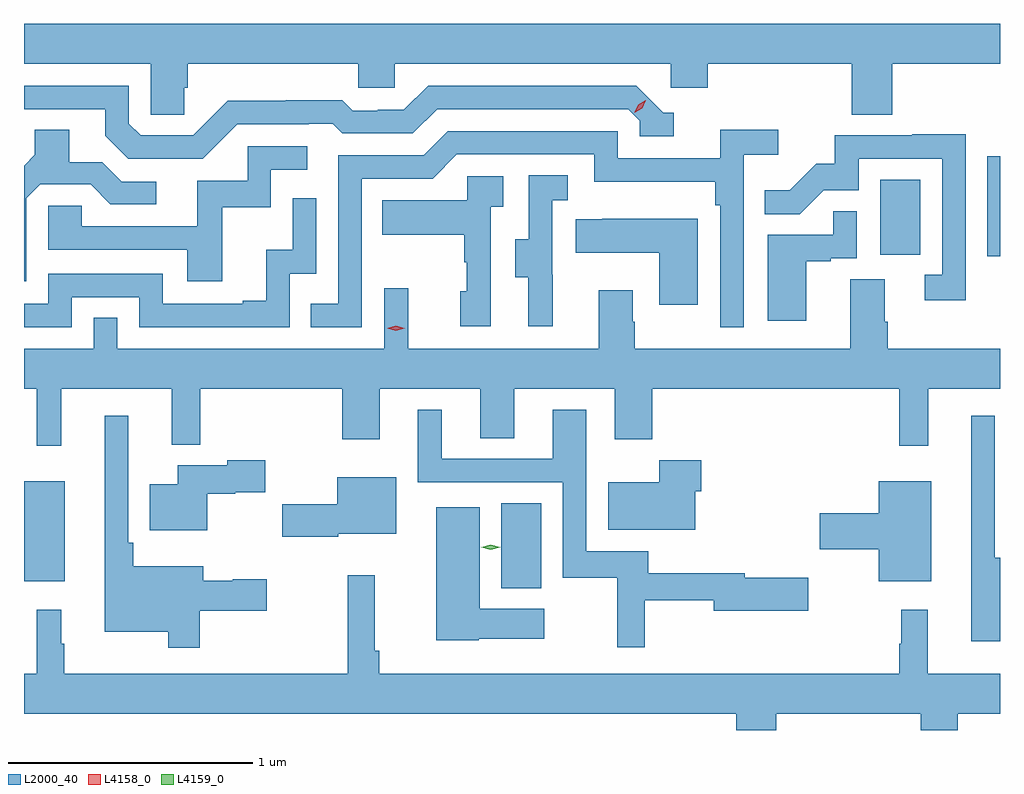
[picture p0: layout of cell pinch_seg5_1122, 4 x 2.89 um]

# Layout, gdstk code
import gdstk
lib = gdstk.Library(unit=1e-6, precision=1e-09)
def R(c, l, rs):  # rectangles x0, y0, x1, y1
    for r in rs: c.add(gdstk.rectangle(r[:2], r[2:], *l))
def P(c, l, *ps):  # polygons
    for p in ps: c.add(gdstk.Polygon(p, *l))
L2000_40 = (2000, 40)
L4158_0 = (4158, 0)
L4159_0 = (4159, 0)

pinch_seg5_1122 = lib.new_cell('pinch_seg5_1122')
R(pinch_seg5_1122, L2000_40, [(855.338,845.288,855.502,845.636), (853.382,845.315,853.549,845.725), (857.33,846.647,857.382,847.057), (856.892,846.654,857.056,846.961)])
P(pinch_seg5_1122, L2000_40, [(854.039,847.338),(854.054,847.338),(854.054,847.436),(854.751,847.436),(854.751,847.338),(854.901,847.338),(854.901,847.436),(856.032,847.436),(856.032,847.338),(856.184,847.338),(856.184,847.436),(856.775,847.436),(856.775,847.228),(856.94,847.228),(856.94,847.436),(857.382,847.436),(857.382,847.6),(853.382,847.6),(853.382,847.436),(853.902,847.436),(853.902,847.228),(854.039,847.228)],
  [(854.256,847.188),(854.549,847.188),(854.549,847.191),(854.648,847.191),(854.687,847.152),(854.976,847.152),(855.075,847.251),(855.858,847.251),(855.906,847.203),(855.906,847.14),(856.045,847.14),(856.045,847.236),(856.002,847.236),(855.891,847.347),(855.038,847.347),(854.939,847.248),(854.832,847.248),(854.832,847.245),(854.729,847.245),(854.687,847.288),(854.454,847.288),(854.454,847.285),(854.218,847.285),(854.076,847.143),(853.86,847.143),(853.812,847.191),(853.812,847.347),(853.382,847.347),(853.382,847.251),(853.715,847.251),(853.715,847.141),(853.809,847.047),(854.115,847.047)],
  [(854.766,846.966),(855.057,846.966),(855.156,847.065),(855.72,847.065),(855.72,846.953),(856.216,846.953),(856.216,846.857),(856.236,846.857),(856.236,846.357),(856.332,846.357),(856.332,847.064),(856.474,847.064),(856.474,847.166),(856.235,847.166),(856.235,847.05),(855.816,847.05),(855.816,847.161),(855.119,847.161),(855.02,847.062),(854.67,847.062),(854.67,846.453),(854.557,846.453),(854.557,846.357),(854.766,846.357)],
  [(853.392,846.885),(853.449,846.942),(853.655,846.942),(853.736,846.861),(853.924,846.861),(853.924,846.954),(853.782,846.954),(853.702,847.034),(853.567,847.034),(853.567,847.166),(853.427,847.166),(853.427,847.064),(853.382,847.019),(853.382,846.546),(853.392,846.546)],
  [(857.241,847.148),(857.023,847.148),(857.023,847.143),(856.705,847.143),(856.705,847.026),(856.628,847.026),(856.521,846.919),(856.417,846.919),(856.417,846.82),(856.561,846.82),(856.659,846.918),(856.803,846.918),(856.803,847.047),(857.145,847.047),(857.145,846.573),(857.073,846.573),(857.073,846.468),(857.241,846.468)],
  [(854.195,846.849),(854.394,846.849),(854.394,847.002),(854.542,847.002),(854.542,847.098),(854.298,847.098),(854.298,846.957),(854.093,846.957),(854.093,846.771),(853.619,846.771),(853.619,846.855),(853.482,846.855),(853.482,846.675),(854.051,846.675),(854.051,846.546),(854.195,846.546)],
  [(855.548,846.573),(855.546,846.573),(855.546,846.877),(855.61,846.877),(855.61,846.98),(855.45,846.98),(855.45,846.717),(855.395,846.717),(855.395,846.562),(855.449,846.562),(855.449,846.36),(855.548,846.36)],
  [(855.294,846.851),(855.346,846.851),(855.346,846.975),(855.198,846.975),(855.198,846.877),(854.851,846.877),(854.851,846.737),(855.186,846.737),(855.186,846.623),(855.196,846.623),(855.196,846.504),(855.17,846.504),(855.17,846.36),(855.294,846.36)],
  [(853.578,846.48),(853.854,846.48),(853.854,846.357),(854.472,846.357),(854.472,846.576),(854.58,846.576),(854.58,846.886),(854.484,846.886),(854.484,846.674),(854.375,846.674),(854.375,846.466),(854.279,846.466),(854.279,846.453),(853.95,846.453),(853.95,846.576),(853.482,846.576),(853.482,846.453),(853.382,846.453),(853.382,846.357),(853.578,846.357)],
  [(856.588,846.627),(856.688,846.627),(856.688,846.639),(856.794,846.639),(856.794,846.833),(856.699,846.833),(856.699,846.735),(856.43,846.735),(856.43,846.384),(856.588,846.384)],
  [(856.144,846.802),(855.751,846.802),(855.751,846.799),(855.643,846.799),(855.643,846.662),(855.986,846.662),(855.986,846.45),(856.144,846.45)],
  [(853.535,846.104),(853.988,846.104),(853.988,845.876),(854.105,845.876),(854.105,846.104),(854.687,846.104),(854.687,845.898),(854.839,845.898),(854.839,846.104),(855.251,846.104),(855.251,845.902),(855.391,845.902),(855.391,846.104),(855.803,846.104),(855.803,845.898),(855.956,845.898),(855.956,846.104),(856.969,846.104),(856.969,845.871),(857.087,845.871),(857.087,846.104),(857.382,846.104),(857.382,846.268),(856.922,846.268),(856.922,846.38),(856.909,846.38),(856.909,846.554),(856.769,846.554),(856.769,846.268),(855.885,846.268),(855.885,846.38),(855.877,846.38),(855.877,846.508),(855.737,846.508),(855.737,846.268),(854.957,846.268),(854.957,846.517),(854.859,846.517),(854.859,846.268),(853.764,846.268),(853.764,846.395),(853.668,846.395),(853.668,846.268),(853.382,846.268),(853.382,846.104),(853.435,846.104),(853.435,845.871),(853.535,845.871)],
  [(855.926,845.238),(856.208,845.238),(856.208,845.195),(856.597,845.195),(856.597,845.33),(856.336,845.33),(856.336,845.348),(855.941,845.348),(855.941,845.439),(855.687,845.439),(855.687,846.019),(855.548,846.019),(855.548,845.817),(855.094,845.817),(855.094,846.019),(854.996,846.019),(854.996,845.721),(855.591,845.721),(855.591,845.331),(855.813,845.331),(855.813,845.046),(855.926,845.046)],
  [(857.382,845.413),(857.361,845.413),(857.361,845.995),(857.264,845.995),(857.264,845.069),(857.382,845.069)],
  [(854.102,845.195),(854.377,845.195),(854.377,845.325),(854.238,845.325),(854.238,845.317),(854.116,845.317),(854.116,845.377),(853.829,845.377),(853.829,845.473),(853.809,845.473),(853.809,845.995),(853.712,845.995),(853.712,845.108),(853.974,845.108),(853.974,845.043),(854.102,845.043)],
  [(856.132,845.685),(856.157,845.685),(856.157,845.811),(855.986,845.811),(855.986,845.722),(855.776,845.722),(855.776,845.528),(856.132,845.528)],
  [(854.134,845.674),(854.247,845.674),(854.247,845.681),(854.371,845.681),(854.371,845.811),(854.214,845.811),(854.214,845.791),(854.012,845.791),(854.012,845.713),(853.898,845.713),(853.898,845.525),(854.134,845.525)],
  [(854.67,845.51),(854.908,845.51),(854.908,845.743),(854.666,845.743),(854.666,845.632),(854.441,845.632),(854.441,845.498),(854.67,845.498)],
  [(857.101,845.725),(856.886,845.725),(856.886,845.594),(856.644,845.594),(856.644,845.447),(856.886,845.447),(856.886,845.315),(857.101,845.315)],
  [(855.246,845.081),(855.514,845.081),(855.514,845.203),(855.25,845.203),(855.25,845.62),(855.071,845.62),(855.071,845.075),(855.246,845.075)],
  [(856.466,844.772),(857.057,844.772),(857.057,844.706),(857.208,844.706),(857.208,844.772),(857.382,844.772),(857.382,844.936),(857.086,844.936),(857.086,845.2),(856.977,845.2),(856.977,845.06),(856.969,845.06),(856.969,844.936),(854.837,844.936),(854.837,845.032),(854.82,845.032),(854.82,845.341),(854.709,845.341),(854.709,844.936),(853.546,844.936),(853.546,845.06),(853.534,845.06),(853.534,845.2),(853.435,845.2),(853.435,844.936),(853.382,844.936),(853.382,844.772),(856.301,844.772),(856.301,844.706),(856.466,844.706)])
P(pinch_seg5_1122, L4158_0, [(854.906,846.343),(854.87,846.352),(854.87,846.353),(854.87,846.353),(854.906,846.363),(854.942,846.353),(854.942,846.353),(854.942,846.352)],
  [(855.884,847.235),(855.884,847.236),(855.9,847.268),(855.931,847.287),(855.931,847.287),(855.931,847.287),(855.915,847.255),(855.884,847.235)])
P(pinch_seg5_1122, L4159_0, [(855.294,845.446),(855.255,845.455),(855.254,845.455),(855.255,845.455),(855.294,845.465),(855.334,845.456),(855.334,845.456),(855.334,845.456)])

lib.write_gds('pinch_seg5_1122.gds')
